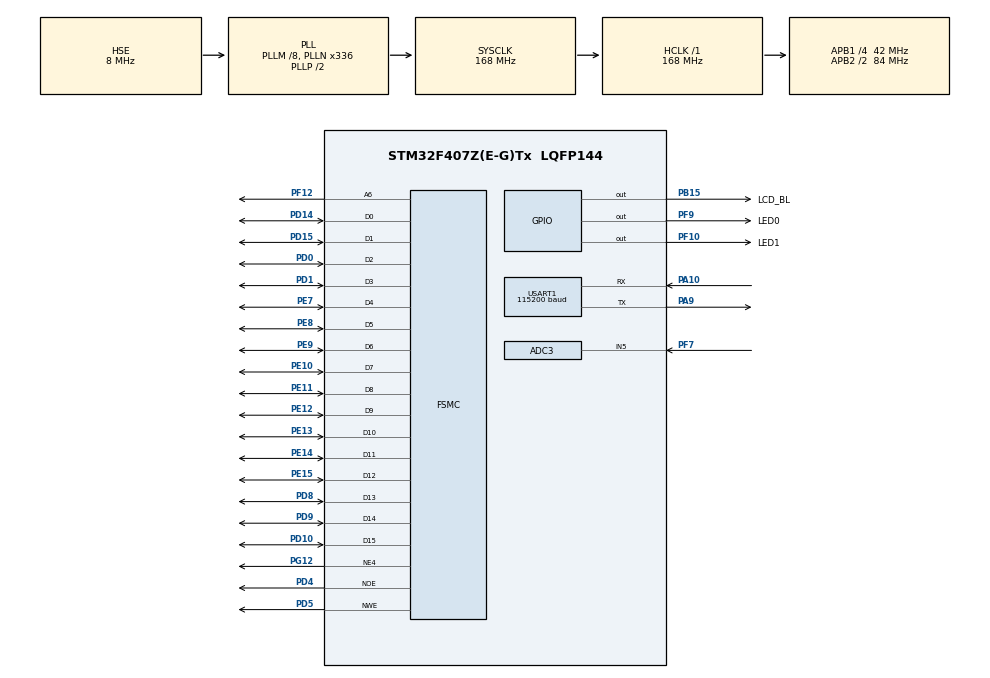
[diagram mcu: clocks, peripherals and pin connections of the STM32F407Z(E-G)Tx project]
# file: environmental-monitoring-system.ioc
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ADC1.Channel-0\#ChannelRegularConversion=ADC_CHANNEL_TEMPSENSOR
ADC1.NbrOfConversionFlag=1
ADC1.Rank-0\#ChannelRegularConversion=1
ADC1.SamplingTime-0\#ChannelRegularConversion=ADC_SAMPLETIME_480CYCLES
ADC1.master=1
ADC3.Channel-0\#ChannelRegularConversion=ADC_CHANNEL_5
ADC3.NbrOfConversionFlag=1
ADC3.Rank-0\#ChannelRegularConversion=1
ADC3.SamplingTime-0\#ChannelRegularConversion=ADC_SAMPLETIME_480CYCLES
FSMC.BusTurnAroundDuration1=0
FSMC.DataSetupTime1=60
FSMC.ExtendedAddressSetupTime1=9
FSMC.ExtendedBusTurnAroundDuration1=0
FSMC.ExtendedDataSetupTime1=8
FSMC.ExtendedMode1=FSMC_EXTENDED_MODE_ENABLE
FSMC.WriteOperation1=FSMC_WRITE_OPERATION_ENABLE
IWDG.Prescaler=IWDG_PRESCALER_64
IWDG.Reload=500
Mcu.Family=STM32F4
Mcu.Name=STM32F407Z(E-G)Tx
Mcu.Package=LQFP144
NVIC.PriorityGroup=NVIC_PRIORITYGROUP_4
NVIC.USART1_IRQn=true\:0\:0\:false\:false\:true\:true\:true\:true
PA10.GPIO_PuPd=GPIO_PULLUP
PA10.Mode=Asynchronous
PA10.Signal=USART1_RX
PA9.GPIO_PuPd=GPIO_PULLUP
PA9.Mode=Asynchronous
PA9.Signal=USART1_TX
PB15.GPIO_Label=LCD_BL
PB15.Signal=GPIO_Output
PC14-OSC32_IN.Mode=LSE-External-Oscillator
PC14-OSC32_IN.Signal=RCC_OSC32_IN
PC15-OSC32_OUT.Mode=LSE-External-Oscillator
PC15-OSC32_OUT.Signal=RCC_OSC32_OUT
PD0.Signal=FSMC_D2_DA2
PD1.Signal=FSMC_D3_DA3
PD10.Signal=FSMC_D15_DA15
PD14.Signal=FSMC_D0_DA0
PD15.Signal=FSMC_D1_DA1
PD4.Signal=FSMC_NOE
PD5.Signal=FSMC_NWE
PD8.Signal=FSMC_D13_DA13
PD9.Signal=FSMC_D14_DA14
PE10.Signal=FSMC_D7_DA7
PE11.Signal=FSMC_D8_DA8
PE12.Signal=FSMC_D9_DA9
PE13.Signal=FSMC_D10_DA10
PE14.Signal=FSMC_D11_DA11
PE15.Signal=FSMC_D12_DA12
PE7.Signal=FSMC_D4_DA4
PE8.Signal=FSMC_D5_DA5
PE9.Signal=FSMC_D6_DA6
PF10.GPIO_Label=LED1
PF10.GPIO_PuPd=GPIO_PULLUP
PF10.GPIO_Speed=GPIO_SPEED_FREQ_VERY_HIGH
PF10.PinState=GPIO_PIN_SET
PF10.Signal=GPIO_Output
PF12.Signal=FSMC_A6
PF7.Mode=IN5
PF7.Signal=ADC3_IN5
PF9.GPIO_Label=LED0
PF9.GPIO_PuPd=GPIO_PULLUP
PF9.GPIO_Speed=GPIO_SPEED_FREQ_VERY_HIGH
PF9.PinState=GPIO_PIN_SET
PF9.Signal=GPIO_Output
PG12.Mode=NorPsramChipSelect4_1
PG12.Signal=FSMC_NE4
PH0-OSC_IN.Mode=HSE-External-Oscillator
PH0-OSC_IN.Signal=RCC_OSC_IN
PH1-OSC_OUT.Mode=HSE-External-Oscillator
PH1-OSC_OUT.Signal=RCC_OSC_OUT
ProjectManager.HeapSize=0x200
ProjectManager.StackSize=0x400
ProjectManager.TargetToolchain=CMake
RCC.48MHZClocksFreq_Value=84000000
RCC.AHBFreq_Value=168000000
RCC.APB1CLKDivider=RCC_HCLK_DIV4
RCC.APB1Freq_Value=42000000
RCC.APB1TimFreq_Value=84000000
RCC.APB2CLKDivider=RCC_HCLK_DIV2
RCC.APB2Freq_Value=84000000
RCC.APB2TimFreq_Value=168000000
RCC.CortexFreq_Value=168000000
RCC.HCLKFreq_Value=168000000
RCC.HSE_VALUE=8000000
RCC.HSI_VALUE=16000000
RCC.PLLM=8
RCC.PLLN=336
RCC.PLLSourceVirtual=RCC_PLLSOURCE_HSE
RCC.RCC_RTC_Clock_Source=RCC_RTCCLKSOURCE_LSE
RCC.SYSCLKFreq_VALUE=168000000
RCC.SYSCLKSource=RCC_SYSCLKSOURCE_PLLCLK
RCC.VCOOutputFreq_Value=336000000
SH.FSMC_A6.0=FSMC_A6,A6_1
SH.FSMC_D0_DA0.0=FSMC_D0,16b-d1
SH.FSMC_D10_DA10.0=FSMC_D10,16b-d1
SH.FSMC_D11_DA11.0=FSMC_D11,16b-d1
SH.FSMC_D12_DA12.0=FSMC_D12,16b-d1
SH.FSMC_D13_DA13.0=FSMC_D13,16b-d1
SH.FSMC_D14_DA14.0=FSMC_D14,16b-d1
SH.FSMC_D15_DA15.0=FSMC_D15,16b-d1
SH.FSMC_D1_DA1.0=FSMC_D1,16b-d1
SH.FSMC_D2_DA2.0=FSMC_D2,16b-d1
SH.FSMC_D3_DA3.0=FSMC_D3,16b-d1
SH.FSMC_D4_DA4.0=FSMC_D4,16b-d1
SH.FSMC_D5_DA5.0=FSMC_D5,16b-d1
SH.FSMC_D6_DA6.0=FSMC_D6,16b-d1
SH.FSMC_D7_DA7.0=FSMC_D7,16b-d1
SH.FSMC_D8_DA8.0=FSMC_D8,16b-d1
SH.FSMC_D9_DA9.0=FSMC_D9,16b-d1
SH.FSMC_NOE.0=FSMC_NOE,Lcd1
SH.FSMC_NWE.0=FSMC_NWE,Lcd1
USART1.BaudRate=115200
USART1.VirtualMode=VM_ASYNC
VP_ADC1_TempSens_Input.Mode=IN-TempSens
VP_IWDG_VS_IWDG.Mode=IWDG_Activate
VP_RTC_VS_RTC_Activate.Mode=RTC_Enabled
board=custom

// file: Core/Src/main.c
/* USER CODE BEGIN Header */
/**
  ******************************************************************************
  * @file           : main.c
  * @brief          : Main program body
  ******************************************************************************
  * @attention
  *
  * Copyright (c) 2026 STMicroelectronics.
  * All rights reserved.
  *
  * This software is licensed under terms that can be found in the LICENSE file
  * in the root directory of this software component.
  * If no LICENSE file comes with this software, it is provided AS-IS.
  *
  ******************************************************************************
  */
/* USER CODE END Header */
#include "main.h"
#include "adc.h"
#include "iwdg.h"
#include "rtc.h"
#include "usart.h"
#include "gpio.h"
#include "fsmc.h"

/* USER CODE BEGIN Includes */
#include "lcd_disp.h"
#include "acq_adc.h"
#include "usmart.h"
#include "rtc_mgr.h"
#include "uart_tx.h"
/* USER CODE END Includes */

/* USER CODE BEGIN PV */
#define RX_BUFFER_SIZE 64
uint8_t rx_buffer[RX_BUFFER_SIZE];
uint8_t usmart_rx_flag;
/* USER CODE END PV */

void SystemClock_Config(void);

int main(void)
{

  /* MCU Configuration--------------------------------------------------------*/

  /* Reset of all peripherals, Initializes the Flash interface and the Systick. */
  HAL_Init();

  /* USER CODE BEGIN Init */
  uint32_t last_tick = 0;
  /* USER CODE END Init */

  /* Configure the system clock */
  SystemClock_Config();

  /* Initialize all configured peripherals */
  MX_GPIO_Init();
  MX_USART1_UART_Init();
  MX_IWDG_Init();
  MX_FSMC_Init();
  MX_ADC3_Init();
  MX_ADC1_Init();
  MX_RTC_Init();
  /* USER CODE BEGIN 2 */
  lcd_disp_init();
  acq_adc_init();          // acquisition module init (currently a no-op, reserved for future setup)
  usmart_dev.init(84); 	    // usmart timing reference: 84MHz (APB1 timer clock)
  HAL_UARTEx_ReceiveToIdle_IT(&huart1, rx_buffer, RX_BUFFER_SIZE);
  rtc_mgr_init();           // sentinel-default check per REQ-SYS-003; leaves prior time intact if already set (REQ-SYS-004)
  /* USER CODE END 2 */

  /* Infinite loop */
  /* USER CODE BEGIN WHILE */
  while (1)
  {
    if (HAL_GetTick() - last_tick >= 1000)   // 1Hz schedule per design.md §3.6 -- >= not ==, so a slightly-late loop iteration doesn't skip a beat
    {
      last_tick = HAL_GetTick();

      char date[11], time[9];
      rtc_mgr_get(date, time);            // read current RTC time (REQ-DISP-001)

      SensorData_t data = acq_read();      // read light + internal temp, clamp/_err applied (REQ-ACQ-001/002/003, REQ-SYS-002)

      // --- LCD display: work in progress, left as-is for now ---
      lcd_disp_update(date, time, &data);

      uart_tx_frame(date, time, &data);    // transmit UART data frame (REQ-COMM-001/002)
    }

    HAL_IWDG_Refresh(&hiwdg);   // fed every loop iteration, not just every 1s -- see design.md §3.6/§4 (REQ-NFR-002)

    if (usmart_rx_flag)
    {
      usmart_rx_flag = 0;
      // Check SET_TIME: (GUI channel, §6.4) first -- only fall through to
      // usmart if this wasn't that kind of command.
      if (!try_handle_set_time_command((char *)rx_buffer))
      {
          usmart_execute((char *)rx_buffer);
      }
    }

    /* USER CODE END WHILE */

  }
}

void SystemClock_Config(void)
{
  RCC_OscInitTypeDef RCC_OscInitStruct = {0};
  RCC_ClkInitTypeDef RCC_ClkInitStruct = {0};

  /** Configure the main internal regulator output voltage
  */
  __HAL_RCC_PWR_CLK_ENABLE();
  __HAL_PWR_VOLTAGESCALING_CONFIG(PWR_REGULATOR_VOLTAGE_SCALE1);

  /** Initializes the RCC Oscillators according to the specified parameters
  * in the RCC_OscInitTypeDef structure.
  */
  RCC_OscInitStruct.OscillatorType = RCC_OSCILLATORTYPE_LSI|RCC_OSCILLATORTYPE_HSE
                              |RCC_OSCILLATORTYPE_LSE;
  RCC_OscInitStruct.HSEState = RCC_HSE_ON;
  RCC_OscInitStruct.LSEState = RCC_LSE_ON;
  RCC_OscInitStruct.LSIState = RCC_LSI_ON;
  RCC_OscInitStruct.PLL.PLLState = RCC_PLL_ON;
  RCC_OscInitStruct.PLL.PLLSource = RCC_PLLSOURCE_HSE;
  RCC_OscInitStruct.PLL.PLLM = 8;
  RCC_OscInitStruct.PLL.PLLN = 336;
  RCC_OscInitStruct.PLL.PLLP = RCC_PLLP_DIV2;
  RCC_OscInitStruct.PLL.PLLQ = 4;
  if (HAL_RCC_OscConfig(&RCC_OscInitStruct) != HAL_OK)
  {
    Error_Handler();
  }

  /** Initializes the CPU, AHB and APB buses clocks
  */
  RCC_ClkInitStruct.ClockType = RCC_CLOCKTYPE_HCLK|RCC_CLOCKTYPE_SYSCLK
                              |RCC_CLOCKTYPE_PCLK1|RCC_CLOCKTYPE_PCLK2;
  RCC_ClkInitStruct.SYSCLKSource = RCC_SYSCLKSOURCE_PLLCLK;
  RCC_ClkInitStruct.AHBCLKDivider = RCC_SYSCLK_DIV1;
  RCC_ClkInitStruct.APB1CLKDivider = RCC_HCLK_DIV4;
  RCC_ClkInitStruct.APB2CLKDivider = RCC_HCLK_DIV2;

  if (HAL_RCC_ClockConfig(&RCC_ClkInitStruct, FLASH_LATENCY_5) != HAL_OK)
  {
    Error_Handler();
  }
}

/* USER CODE BEGIN 4 */
/**
 * @brief  UART idle-line reception callback: null-terminates the received
 *         buffer and passes it to usmart for command parsing/execution.
 * @note   Only sets a flag here -- usmart_execute() itself runs from the
 *         main loop (see WHILE block above), not from this ISR context.
 *         Calling it directly here previously caused a deadlock: functions
 *         invoked via usmart that use HAL_Delay() (e.g. light_adc_raw_print())
 *         spin on HAL_GetTick(), which only advances via the SysTick
 *         interrupt -- SysTick can't preempt while still inside this UART
 *         RX ISR, so the wait condition never becomes true. See design.md
 *         §4 (Known Pitfall Carried Forward).
 */
void HAL_UARTEx_RxEventCallback(UART_HandleTypeDef *huart, uint16_t Size)
{
    if (huart->Instance == USART1)
    {
        if (Size < RX_BUFFER_SIZE)
        {
            rx_buffer[Size] = '\0';   /* usmart expects a null-terminated string */
        }

        usmart_rx_flag = 1;

        HAL_UARTEx_ReceiveToIdle_IT(&huart1, rx_buffer, RX_BUFFER_SIZE);
    }
}

/**
 * @brief  Redirects printf() output to USART1 (required for usmart's
 *         command output and debug printf calls, e.g. light_adc_raw_print()).
 */
#ifdef __GNUC__
int __io_putchar(int ch)
#else
int fputc(int ch, FILE *f)
#endif
{
    HAL_UART_Transmit(&huart1, (uint8_t*)&ch, 1, HAL_MAX_DELAY);
    return ch;
}
/* USER CODE END 4 */

void Error_Handler(void)
{
  __disable_irq();
  while (1)
  {
  }
}
